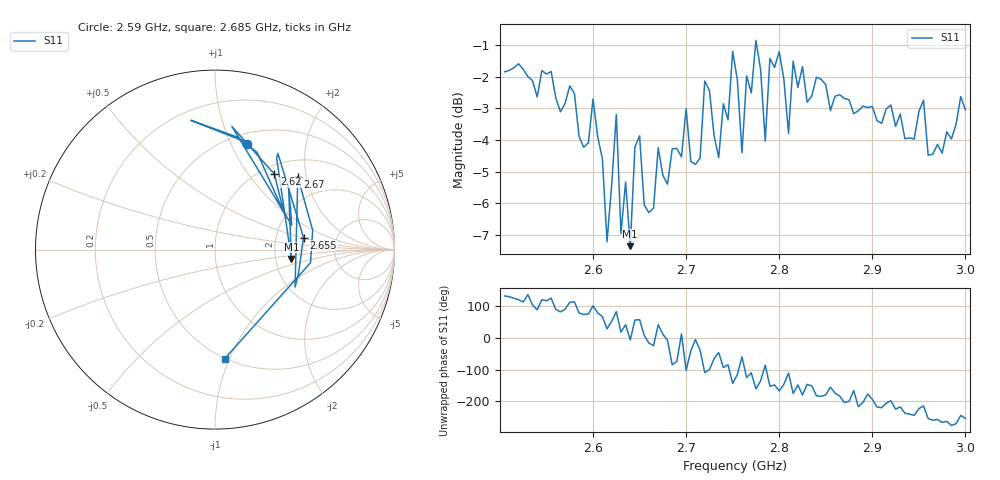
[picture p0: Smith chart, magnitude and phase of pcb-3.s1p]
# HZ S RI R 50
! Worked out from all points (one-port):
!   100 points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, 2.505 GHz to 3 GHz, reference 50 ohm
!   lowest |S11| = -7.4 dB at 2.64 GHz (marker M1), VSWR 2.50, Z = 123 - j15.5 ohm
!   |S11| at or under -10 dB: nowhere
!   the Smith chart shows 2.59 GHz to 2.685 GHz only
!   S11 on the Smith chart (normalised r, x): 2.59 GHz: 0.61, +1.15; 2.62 GHz: 1.14, +1.35; 2.655 GHz: 2.88, +0.51; 2.67 GHz: 1.37, +1.78; 2.685 GHz: 0.50, -0.96
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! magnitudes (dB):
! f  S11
! 2.505 GHz  -1.8
! 2.57 GHz  -2.8
! 2.59 GHz  -4.2
! 2.6 GHz  -2.7
! 2.615 GHz  -7.2
! 2.62 GHz  -5.4
! 2.625 GHz  -3.2
! 2.63 GHz  -7.0
! 2.635 GHz  -5.3
! 2.64 GHz  -7.4
! 2.645 GHz  -4.2
! 2.655 GHz  -6.1
! 2.67 GHz  -4.2
! 2.685 GHz  -4.3
! 2.695 GHz  -4.5
! 2.715 GHz  -4.6
! 2.72 GHz  -2.1
! 2.735 GHz  -4.6
! 2.755 GHz  -2.1
! 2.76 GHz  -4.4
! 2.775 GHz  -0.8
! 2.785 GHz  -4.0
! 2.79 GHz  -1.4
! 2.81 GHz  -3.8
! 2.815 GHz  -1.5
! 2.88 GHz  -3.2
! 2.94 GHz  -3.9
! 3 GHz  -3.0
